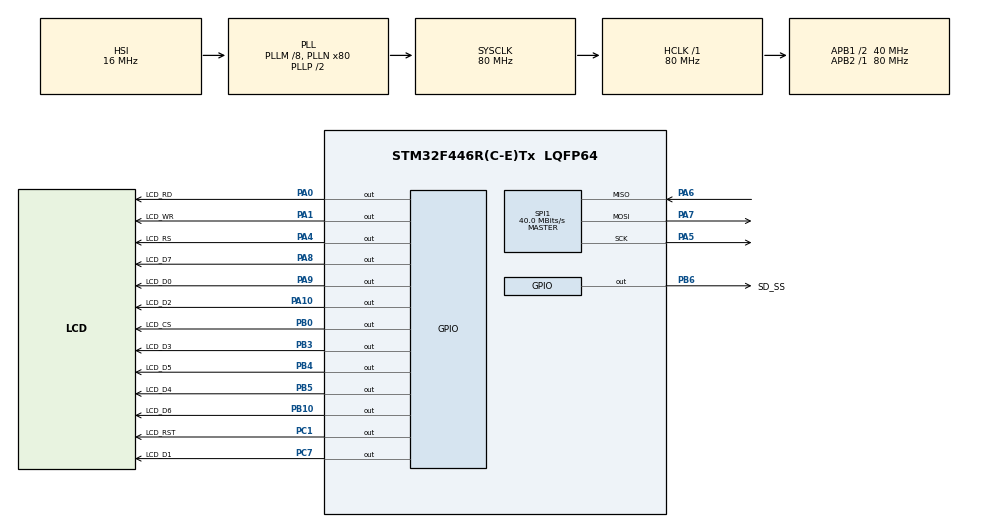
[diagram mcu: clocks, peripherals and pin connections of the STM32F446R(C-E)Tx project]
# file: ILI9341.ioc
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Mcu.Family=STM32F4
Mcu.Name=STM32F446R(C-E)Tx
Mcu.Package=LQFP64
NVIC.PriorityGroup=NVIC_PRIORITYGROUP_4
PA0-WKUP.GPIO_Label=LCD_RD
PA0-WKUP.GPIO_Speed=GPIO_SPEED_FREQ_HIGH
PA0-WKUP.Signal=GPIO_Output
PA1.GPIO_Label=LCD_WR
PA1.GPIO_Speed=GPIO_SPEED_FREQ_HIGH
PA1.Signal=GPIO_Output
PA10.GPIO_Label=LCD_D2
PA10.GPIO_Speed=GPIO_SPEED_FREQ_HIGH
PA10.Signal=GPIO_Output
PA13.Mode=Serial_Wire
PA13.Signal=SYS_JTMS-SWDIO
PA14.Mode=Serial_Wire
PA14.Signal=SYS_JTCK-SWCLK
PA4.GPIO_Label=LCD_RS
PA4.GPIO_Speed=GPIO_SPEED_FREQ_HIGH
PA4.Signal=GPIO_Output
PA5.Mode=Full_Duplex_Master
PA5.Signal=SPI1_SCK
PA6.Mode=Full_Duplex_Master
PA6.Signal=SPI1_MISO
PA7.Mode=Full_Duplex_Master
PA7.Signal=SPI1_MOSI
PA8.GPIO_Label=LCD_D7
PA8.GPIO_Speed=GPIO_SPEED_FREQ_HIGH
PA8.Signal=GPIO_Output
PA9.GPIO_Label=LCD_D0
PA9.GPIO_Speed=GPIO_SPEED_FREQ_HIGH
PA9.Signal=GPIO_Output
PB0.GPIO_Label=LCD_CS
PB0.GPIO_Speed=GPIO_SPEED_FREQ_HIGH
PB0.Signal=GPIO_Output
PB10.GPIO_Label=LCD_D6
PB10.GPIO_Speed=GPIO_SPEED_FREQ_HIGH
PB10.Signal=GPIO_Output
PB3.GPIO_Label=LCD_D3
PB3.GPIO_Speed=GPIO_SPEED_FREQ_HIGH
PB3.Signal=GPIO_Output
PB4.GPIO_Label=LCD_D5
PB4.GPIO_Speed=GPIO_SPEED_FREQ_HIGH
PB4.Signal=GPIO_Output
PB5.GPIO_Label=LCD_D4
PB5.GPIO_Speed=GPIO_SPEED_FREQ_HIGH
PB5.Signal=GPIO_Output
PB6.GPIO_Label=SD_SS
PB6.GPIO_Speed=GPIO_SPEED_FREQ_HIGH
PB6.Signal=GPIO_Output
PC1.GPIO_Label=LCD_RST
PC1.GPIO_Speed=GPIO_SPEED_FREQ_HIGH
PC1.Signal=GPIO_Output
PC7.GPIO_Label=LCD_D1
PC7.GPIO_Speed=GPIO_SPEED_FREQ_HIGH
PC7.Signal=GPIO_Output
PH0-OSC_IN.Mode=HSE-External-Oscillator
PH0-OSC_IN.Signal=RCC_OSC_IN
PH1-OSC_OUT.Mode=HSE-External-Oscillator
PH1-OSC_OUT.Signal=RCC_OSC_OUT
ProjectManager.HeapSize=0x200
ProjectManager.StackSize=0x400
ProjectManager.TargetToolchain=STM32CubeIDE
RCC.AHBFreq_Value=80000000
RCC.APB1CLKDivider=RCC_HCLK_DIV2
RCC.APB1Freq_Value=40000000
RCC.APB1TimFreq_Value=80000000
RCC.APB2Freq_Value=80000000
RCC.APB2TimFreq_Value=80000000
RCC.CortexFreq_Value=80000000
RCC.HCLKFreq_Value=80000000
RCC.PLLM=8
RCC.PLLN=80
RCC.SYSCLKFreq_VALUE=80000000
RCC.SYSCLKSource=RCC_SYSCLKSOURCE_PLLCLK
RCC.USBFreq_Value=80000000
RCC.VCOOutputFreq_Value=160000000
SPI1.CalculateBaudRate=40.0 MBits/s
SPI1.Direction=SPI_DIRECTION_2LINES
SPI1.Mode=SPI_MODE_MASTER
SPI1.VirtualType=VM_MASTER
board=custom

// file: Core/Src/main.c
/* USER CODE BEGIN Header */
/**
 ******************************************************************************
 * @file           : main.c
 * @brief          : Main program body
 ******************************************************************************
 * @attention
 *
 * Copyright (c) 2024 STMicroelectronics.
 * All rights reserved.
 *
 * This software is licensed under terms that can be found in the LICENSE file
 * in the root directory of this software component.
 * If no LICENSE file comes with this software, it is provided AS-IS.
 *
 ******************************************************************************
 */
/* USER CODE END Header */
#include "main.h"

/* USER CODE BEGIN Includes */
#include "ili9341.h"
#include "Bitmaps.h"
/* USER CODE END Includes */

SPI_HandleTypeDef hspi1;

/* USER CODE BEGIN PV */
extern uint16_t fondo[];
/* USER CODE END PV */

void SystemClock_Config(void);
static void MX_GPIO_Init(void);
static void MX_SPI1_Init(void);

int main(void)
{

  /* MCU Configuration--------------------------------------------------------*/

  /* Reset of all peripherals, Initializes the Flash interface and the Systick. */
  HAL_Init();

  /* Configure the system clock */
  SystemClock_Config();

  /* Initialize all configured peripherals */
  MX_GPIO_Init();
  MX_SPI1_Init();
  /* USER CODE BEGIN 2 */

	LCD_Init();
	LCD_Clear(0x0000);

	//Identificación del DESFIBRILADOR (dispositivo médico)
	//	void Rect(unsigned int x, unsigned int y, unsigned int w, unsigned int h, unsigned int c);
	//  void FillRect(unsigned int x, unsigned int y, unsigned int w, unsigned int h, unsigned int c);
	Rect(5,5,310,30,0x0000FF);
	// void LCD_Print(char* text, int x, int y, int fontSize, int color, int background);
	LCD_Print("DESFIBRILADOR",53,13,2,0x0000FF,0x0000);
	//COLOCAR FIGURA DE BATERÍA

	//Señales del desfibrilador
	//Pulso (bpm)
	Rect(5,45,80,60,0xF800);
	FillRect(5,45,80,15,0xF800);
	LCD_Print("Pulso",7,45,1,0xFFFFFF,0xF800);
	LCD_Print("bpm",60,62,1,0xFFFFFF,0x0000);
	LCD_Print("60",13,77,2,0xFFFFFF,0x0000);

	//Oxigenación (%)
	Rect(5,110,80,60,0x03E0);
	FillRect(5,110,80,15,0x03E0);
	LCD_Print("SpO2",7,110,1,0xFFFFFF,0x03E0);
	LCD_Print("%",75,127,1,0xFFFFFF,0x0000);
	LCD_Print("95",13,142,2,0xFFFFFF,0x0000);

	//Presión (mmHg)
	Rect(5,175,80,60,0xFF6600);
	FillRect(5,175,80,15,0xFF6600);
	LCD_Print("EtCO2",7,175,1,0xFFFFFF,0xFF6600);
	LCD_Print("mmHg",52,192,1,0xFFFFFF,0x0000);
	LCD_Print("32",13,207,2,0xFFFFFF,0x0000);

	//Detalles
	FillRect(95,220,220,17,0x0000FF);
	LCD_Print("MONITOR",150,220,2,0xFFFFFF,0x0000FF);

	// void LCD_Bitmap(unsigned int x, unsigned int y, unsigned int width, unsigned int height, const uint16_t *bitmap);
	LCD_Bitmap(292, 8, 20, 12, bateria);

	LCD_Print("Pulso",275,120,1,0xFFFFFF,0x0000);
	LCD_Print("SpO2",280,195,1,0xFFFFFF,0x0000);

//GRÁFICAS DE LAS SEÑALES
	// void LCD_Sprite(int x, int y, int width, int height, const uint16_t *bitmap,	int columns, int index, char flip, char offset);
	for (int x = 0; x < 319-100; x++){
		int anim = (x/10)%4;
		LCD_Sprite(100, 55, 214, 62, pulsos, 4, anim, 0, 0);
		LCD_Sprite(100, 140, 214, 52, oxigeno, 4, anim, 0, 0);
		HAL_Delay(10);
	}
	//LCD_Bitmap(100, 45, 214, 62, pulso);
	//LCD_Bitmap(unsigned int x, unsigned int y, unsigned int width, unsigned int height, unsigned char bitmap[]);

  /* USER CODE END 2 */

  /* Infinite loop */
	while (1) {

    /* USER CODE BEGIN 3 */

//		for (int x = 0; x < 320 - 16; x++) {
//		    int anim2 = (x / 10) % 4;
//		    LCD_Sprite(x,100,16,16,kirbys,4,anim2,0,0);
//		    V_line( x -1, 100, 16, 0x74DA);
//		    HAL_Delay(15);
//		  }
//		  for (int x = 320-16; x > 0; x--) {
//		    int anim2 = (x / 10) % 4;
//		    LCD_Sprite(x,100,16,16,kirbys,4,anim2,1,0);
//		    V_line( x +16, 100, 16, 0x74DA);
//		    HAL_Delay(15);
//		  }

	}
  /* USER CODE END 3 */
}

void SystemClock_Config(void)
{
  RCC_OscInitTypeDef RCC_OscInitStruct = {0};
  RCC_ClkInitTypeDef RCC_ClkInitStruct = {0};

  /** Configure the main internal regulator output voltage
  */
  __HAL_RCC_PWR_CLK_ENABLE();
  __HAL_PWR_VOLTAGESCALING_CONFIG(PWR_REGULATOR_VOLTAGE_SCALE3);

  /** Initializes the RCC Oscillators according to the specified parameters
  * in the RCC_OscInitTypeDef structure.
  */
  RCC_OscInitStruct.OscillatorType = RCC_OSCILLATORTYPE_HSI;
  RCC_OscInitStruct.HSIState = RCC_HSI_ON;
  RCC_OscInitStruct.HSICalibrationValue = RCC_HSICALIBRATION_DEFAULT;
  RCC_OscInitStruct.PLL.PLLState = RCC_PLL_ON;
  RCC_OscInitStruct.PLL.PLLSource = RCC_PLLSOURCE_HSI;
  RCC_OscInitStruct.PLL.PLLM = 8;
  RCC_OscInitStruct.PLL.PLLN = 80;
  RCC_OscInitStruct.PLL.PLLP = RCC_PLLP_DIV2;
  RCC_OscInitStruct.PLL.PLLQ = 2;
  RCC_OscInitStruct.PLL.PLLR = 2;
  if (HAL_RCC_OscConfig(&RCC_OscInitStruct) != HAL_OK)
  {
    Error_Handler();
  }

  /** Initializes the CPU, AHB and APB buses clocks
  */
  RCC_ClkInitStruct.ClockType = RCC_CLOCKTYPE_HCLK|RCC_CLOCKTYPE_SYSCLK
                              |RCC_CLOCKTYPE_PCLK1|RCC_CLOCKTYPE_PCLK2;
  RCC_ClkInitStruct.SYSCLKSource = RCC_SYSCLKSOURCE_PLLCLK;
  RCC_ClkInitStruct.AHBCLKDivider = RCC_SYSCLK_DIV1;
  RCC_ClkInitStruct.APB1CLKDivider = RCC_HCLK_DIV2;
  RCC_ClkInitStruct.APB2CLKDivider = RCC_HCLK_DIV1;

  if (HAL_RCC_ClockConfig(&RCC_ClkInitStruct, FLASH_LATENCY_2) != HAL_OK)
  {
    Error_Handler();
  }
}

static void MX_SPI1_Init(void)
{

  /* SPI1 parameter configuration*/
  hspi1.Instance = SPI1;
  hspi1.Init.Mode = SPI_MODE_MASTER;
  hspi1.Init.Direction = SPI_DIRECTION_2LINES;
  hspi1.Init.DataSize = SPI_DATASIZE_8BIT;
  hspi1.Init.CLKPolarity = SPI_POLARITY_LOW;
  hspi1.Init.CLKPhase = SPI_PHASE_1EDGE;
  hspi1.Init.NSS = SPI_NSS_SOFT;
  hspi1.Init.BaudRatePrescaler = SPI_BAUDRATEPRESCALER_2;
  hspi1.Init.FirstBit = SPI_FIRSTBIT_MSB;
  hspi1.Init.TIMode = SPI_TIMODE_DISABLE;
  hspi1.Init.CRCCalculation = SPI_CRCCALCULATION_DISABLE;
  hspi1.Init.CRCPolynomial = 10;
  if (HAL_SPI_Init(&hspi1) != HAL_OK)
  {
    Error_Handler();
  }

}

static void MX_GPIO_Init(void)
{
  GPIO_InitTypeDef GPIO_InitStruct = {0};

  /* GPIO Ports Clock Enable */
  __HAL_RCC_GPIOH_CLK_ENABLE();
  __HAL_RCC_GPIOC_CLK_ENABLE();
  __HAL_RCC_GPIOA_CLK_ENABLE();
  __HAL_RCC_GPIOB_CLK_ENABLE();

  /*Configure GPIO pin Output Level */
  HAL_GPIO_WritePin(GPIOC, LCD_RST_Pin|LCD_D1_Pin, GPIO_PIN_RESET);

  /*Configure GPIO pin Output Level */
  HAL_GPIO_WritePin(GPIOA, LCD_RD_Pin|LCD_WR_Pin|LCD_RS_Pin|LCD_D7_Pin
                          |LCD_D0_Pin|LCD_D2_Pin, GPIO_PIN_RESET);

  /*Configure GPIO pin Output Level */
  HAL_GPIO_WritePin(GPIOB, LCD_CS_Pin|LCD_D6_Pin|LCD_D3_Pin|LCD_D5_Pin
                          |LCD_D4_Pin|SD_SS_Pin, GPIO_PIN_RESET);

  /*Configure GPIO pins : LCD_RST_Pin LCD_D1_Pin */
  GPIO_InitStruct.Pin = LCD_RST_Pin|LCD_D1_Pin;
  GPIO_InitStruct.Mode = GPIO_MODE_OUTPUT_PP;
  GPIO_InitStruct.Pull = GPIO_NOPULL;
  GPIO_InitStruct.Speed = GPIO_SPEED_FREQ_HIGH;
  HAL_GPIO_Init(GPIOC, &GPIO_InitStruct);

  /*Configure GPIO pins : LCD_RD_Pin LCD_WR_Pin LCD_RS_Pin LCD_D7_Pin
                           LCD_D0_Pin LCD_D2_Pin */
  GPIO_InitStruct.Pin = LCD_RD_Pin|LCD_WR_Pin|LCD_RS_Pin|LCD_D7_Pin
                          |LCD_D0_Pin|LCD_D2_Pin;
  GPIO_InitStruct.Mode = GPIO_MODE_OUTPUT_PP;
  GPIO_InitStruct.Pull = GPIO_NOPULL;
  GPIO_InitStruct.Speed = GPIO_SPEED_FREQ_HIGH;
  HAL_GPIO_Init(GPIOA, &GPIO_InitStruct);

  /*Configure GPIO pins : LCD_CS_Pin LCD_D6_Pin LCD_D3_Pin LCD_D5_Pin
                           LCD_D4_Pin SD_SS_Pin */
  GPIO_InitStruct.Pin = LCD_CS_Pin|LCD_D6_Pin|LCD_D3_Pin|LCD_D5_Pin
                          |LCD_D4_Pin|SD_SS_Pin;
  GPIO_InitStruct.Mode = GPIO_MODE_OUTPUT_PP;
  GPIO_InitStruct.Pull = GPIO_NOPULL;
  GPIO_InitStruct.Speed = GPIO_SPEED_FREQ_HIGH;
  HAL_GPIO_Init(GPIOB, &GPIO_InitStruct);

}

void Error_Handler(void)
{
	__disable_irq();
	while (1) {
	}
}
